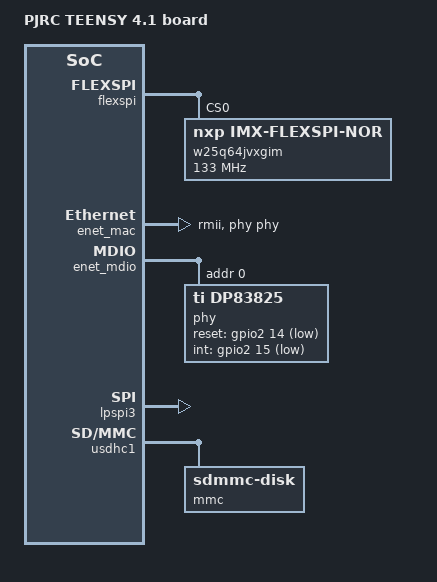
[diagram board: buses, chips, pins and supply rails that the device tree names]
/*
 * Copyright (c) 2020, Bernhard Kraemer
 *
 * SPDX-License-Identifier: Apache-2.0
 */

#include "teensy40.dts"

/ {
	model = "PJRC TEENSY 4.1 board";

	chosen {
		zephyr,flash-controller = &w25q64jvxgim;
		zephyr,flash = &w25q64jvxgim;
	};
};

/delete-node/ &w25q16jvuxim;

&flexspi {
	reg = <0x402a8000 0x4000>, <0x60000000 DT_SIZE_M(8)>;
	status = "okay";

	/* WINBOND flash memory*/
	w25q64jvxgim: w25q64jvxgim@0 {
		compatible = "nxp,imx-flexspi-nor";
		reg = <0>;
		size = <DT_SIZE_M(8 * 8)>;
		spi-max-frequency = <DT_FREQ_M(133)>;
		jedec-id = [ef 70 17];

		erase-block-size = <4096>;
		write-block-size = <1>;
		status = "okay";
	};
};

&enet_mac {
	pinctrl-0 = <&pinmux_enet>;
	pinctrl-names = "default";
	phy-connection-type = "rmii";
	phy-handle = <&phy>;
	nxp,unique-mac;
	status = "okay";
};

&enet_mdio {
	pinctrl-0 = <&pinmux_enet_mdio>;
	pinctrl-names = "default";
	status = "okay";

	phy: phy@0 {
		compatible = "ti,dp83825";
		reg = <0>;
		reset-gpios = <&gpio2 14 GPIO_ACTIVE_LOW>;
		int-gpios = <&gpio2 15 GPIO_ACTIVE_LOW>;
		ti,interface-type = "rmii";
		status = "okay";
	};
};

&lpspi3 {
	status = "okay";
};

&usdhc1 {
	no-1-8-v;
	pinctrl-0 = <&pinmux_usdhc1>;
	pinctrl-1 = <&pinmux_usdhc1_slow>;
	pinctrl-2 = <&pinmux_usdhc1_med>;
	pinctrl-3 = <&pinmux_usdhc1_fast>;
	pinctrl-names = "default", "slow", "med", "fast";
	status = "okay";

	mmc {
		compatible = "zephyr,sdmmc-disk";
		disk-name = "SD";
		status = "okay";
	};
};
